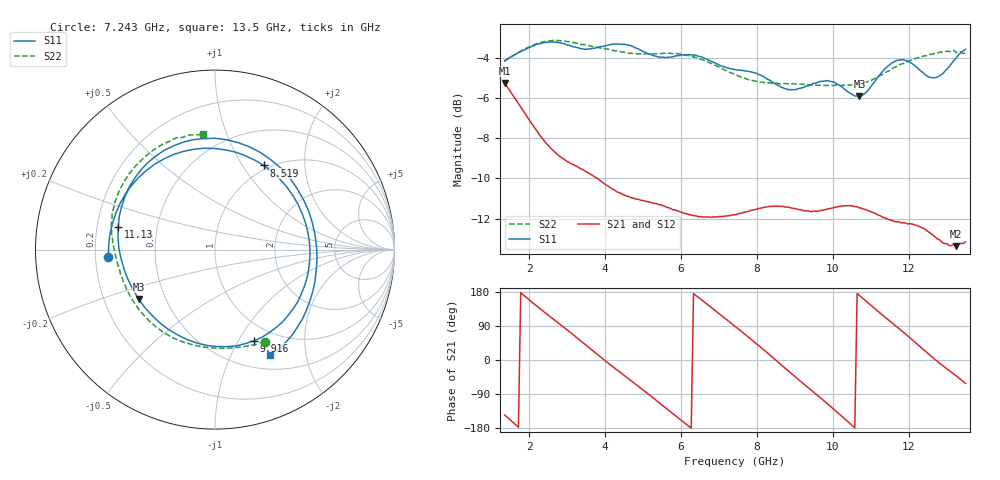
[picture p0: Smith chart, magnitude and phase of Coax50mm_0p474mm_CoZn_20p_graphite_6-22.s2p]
!Agilent Technologies,N5230C,MY48100320,A.08.04.10
!Agilent N5230C: A.08.04.10
!Date: Tuesday, August 23, 2016 04:07:18
!Correction: S11(Full 2 Port(1,2))
!S21(Full 2 Port(1,2))
!S12(Full 2 Port(1,2))
!S22(Full 2 Port(1,2))
!S2P File: Measurements: S11, S21, S12, S22:
# Hz S  dB  R 50
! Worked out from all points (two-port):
!   201 points, 1.35 GHz to 13.5 GHz, reference 50 ohm
!   highest |S21| = -5.25 dB at 1.35 GHz (marker M1); lowest = -13.4 dB at 13.26 GHz (marker M2)
!   |S21| within 3 dB of the highest: start of sweep to 2.446 GHz
!   lowest |S11| = -5.9 dB at 10.71 GHz (marker M3), VSWR 3.06, Z = 17.6 - j13 ohm
!   |S11| at or under -10 dB: nowhere
!   |S22| runs from -5.4 to -3.1 dB; largest |S21 - S12| = 0.0012
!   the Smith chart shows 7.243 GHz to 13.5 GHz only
!   S11 on the Smith chart (normalised r, x): 7.243 GHz: 0.25, -0.03; 8.519 GHz: 0.94, +1.25; 9.916 GHz: 0.79, -1.16; 11.13 GHz: 0.29, +0.11; 13.5 GHz: 0.68, -1.43
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1.35027e9  -4.14 67.5  -5.25 -145.1  -5.26 -145.1  -4.18 156.7
2.140002e9  -3.38 -21.3  -7.47 147.0  -7.49 147.0  -3.33 122.1
2.808238e9  -3.25 -86.9  -8.91 94.5  -8.92 94.4  -3.14 94.9
3.415724e9  -3.55 -151.2  -9.56 45.7  -9.57 45.7  -3.34 72.5
3.901713e9  -3.43 155.0  -10.15 5.9  -10.16 5.9  -3.52 55.3
4.448451e9  -3.32 102.7  -10.78 -36.5  -10.79 -36.5  -3.70 35.1
4.873692e9  -3.55 64.0  -11.04 -69.1  -11.07 -69.1  -3.80 18.7
5.42043e9  -3.96 7.9  -11.30 -112.2  -11.31 -112.1  -3.79 -1.5
6.331659e9  -3.86 -87.0  -11.85 175.2  -11.87 175.2  -3.95 -32.6
7.242889e9  -4.51 -176.1  -11.86 103.5  -11.87 103.5  -4.68 -61.8
7.425135e9  -4.59 166.0  -11.81 89.0  -11.82 89.1  -4.83 -67.4
7.971873e9  -4.76 113.9  -11.54 44.5  -11.55 44.5  -5.16 -84.6
8.518611e9  -5.32 60.0  -11.37 -1.9  -11.39 -1.8  -5.26 -102.1
9.490589e9  -5.27 -32.6  -11.63 -84.1  -11.64 -84.0  -5.33 -132.0
9.91583e9  -5.16 -67.1  -11.51 -119.9  -11.51 -119.9  -5.37 -144.2
1.070556e10  -5.90 -147.2  -11.46 170.4  -11.47 170.5  -5.30 -167.5
1.11308e10  -5.12 166.6  -11.75 133.9  -11.76 134.0  -5.01 179.9
1.149529e10  -4.35 132.8  -12.06 103.7  -12.07 103.8  -4.64 169.1
1.216353e10  -4.38 71.3  -12.31 47.7  -12.32 47.7  -4.04 146.9
1.264952e10  -4.99 15.3  -12.83 5.5  -12.84 5.4  -3.81 129.6
1.325701e10  -4.00 -43.2  -13.37 -41.7  -13.37 -41.7  -3.74 106.3
1.35e10  -3.58 -62.2  -13.16 -61.9  -13.16 -61.9  -3.77 95.9
